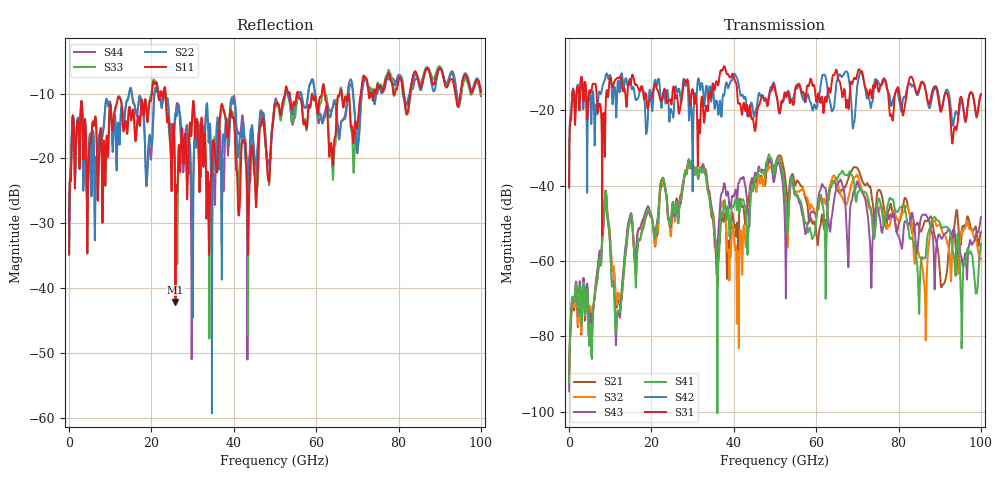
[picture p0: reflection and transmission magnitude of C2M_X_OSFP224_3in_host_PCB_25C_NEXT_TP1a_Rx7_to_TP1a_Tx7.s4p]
# GHz S RI R 45
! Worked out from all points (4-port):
!   4000 points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, 25 MHz to 100 GHz, reference 45 ohm
!   strongest paths, dB at 25 MHz, 25.02 GHz, 50.02 GHz, 75.03 GHz, 100 GHz:
!     S31: -40.5, -16.7, -14.7, -14.6, -15.7
!     S42: -40.1, -20.6, -13.9, -12.3, -15.9
!     S41: -92.5, -45.4, -35.4, -43.8, -55.5
!     S43: -94.5, -46.8, -37.1, -46.3, -48.4
!     S32: -92.3, -48.0, -36.8, -46.0, -59.5
!     S21: -93.1, -46.1, -34.9, -41.3, -52.3
!   lowest |S11| = -42.2 dB at 25.85 GHz (marker M1), VSWR 1.02, Z = 45.5 - j0.451 ohm
!   |S11| at or under -10 dB: start of sweep to 20.13 GHz; 23.46 GHz to 52.41 GHz (28.95 GHz wide, 76.3 % of centre); 55.51 GHz to 61.38 GHz (5.869 GHz wide, 10 % of centre) (the widest 3 of 14)
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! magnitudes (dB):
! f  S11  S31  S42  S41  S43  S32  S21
! 25 MHz  -34.7  -40.5  -40.1  -92.5  -94.5  -92.3  -93.1
! 5.275 GHz  -17.6  -15.3  -19.6  -77.9  -74.4  -72.8  -74.7
! 8.925 GHz  -20.8  -17.9  -10.7  -41.6  -41.5  -41.3  -41.5
! 11.7 GHz  -11.1  -11.4  -14.4  -73.5  -74.4  -69.9  -71.1
! 14.78 GHz  -12.3  -13.0  -11.7  -49.1  -48.2  -48.9  -49.7
! 25.85 GHz  -42.2  -16.9  -13.8  -45.5  -46.5  -47.7  -46.2
! 100 GHz  -9.8  -15.7  -15.9  -55.5  -48.4  -59.5  -52.3
